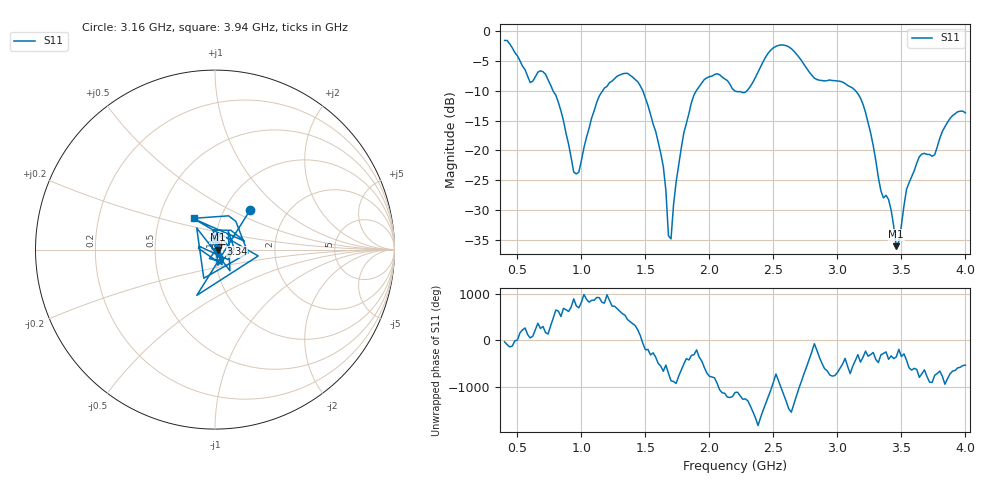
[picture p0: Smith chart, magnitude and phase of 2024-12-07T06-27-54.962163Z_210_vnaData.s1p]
!Created with skrf (http://scikit-rf.org).
# Hz S RI R 50.0
!freq ReS11 ImS11
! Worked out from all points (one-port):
!   181 points, 400 MHz to 4 GHz, reference 50 ohm
!   lowest |S11| = -36.0 dB at 3.46 GHz (marker M1), VSWR 1.03, Z = 51.6 - j0.0107 ohm
!   |S11| at or under -10 dB: 777.7 MHz to 1.167 GHz (388.9 MHz wide, 40 % of centre); 1.48 GHz to 1.898 GHz (418.8 MHz wide, 24.8 % of centre); 3.141 GHz to end of sweep (the widest 3 of 4)
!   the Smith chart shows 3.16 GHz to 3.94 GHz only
!   S11 on the Smith chart (normalised r, x): 3.16 GHz: 1.31, +0.64; 3.34 GHz: 1.06, +0.07; 3.94 GHz: 0.75, +0.27
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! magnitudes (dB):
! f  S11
! 400 MHz  -1.6
! 600 MHz  -8.6
! 720 MHz  -7.3
! 860 MHz  -15.0
! 940 MHz  -23.6
! 980 MHz  -23.6
! 1.14 GHz  -10.9
! 1.3 GHz  -7.4
! 1.52 GHz  -12.5
! 1.64 GHz  -22.7
! 1.68 GHz  -34.3
! 1.7 GHz  -34.8
! 1.76 GHz  -22.5
! 1.86 GHz  -12.0
! 1.96 GHz  -8.1
! 2.2 GHz  -10.1
! 2.5 GHz  -2.8
! 2.66 GHz  -3.4
! 2.82 GHz  -7.9
! 3.1 GHz  -9.4
! 3.16 GHz  -10.5
! 3.26 GHz  -17.1
! 3.34 GHz  -26.8
! 3.4 GHz  -28.2
! 3.46 GHz  -36.0
! 3.56 GHz  -25.4
! 3.94 GHz  -13.5
! 4 GHz  -13.7
